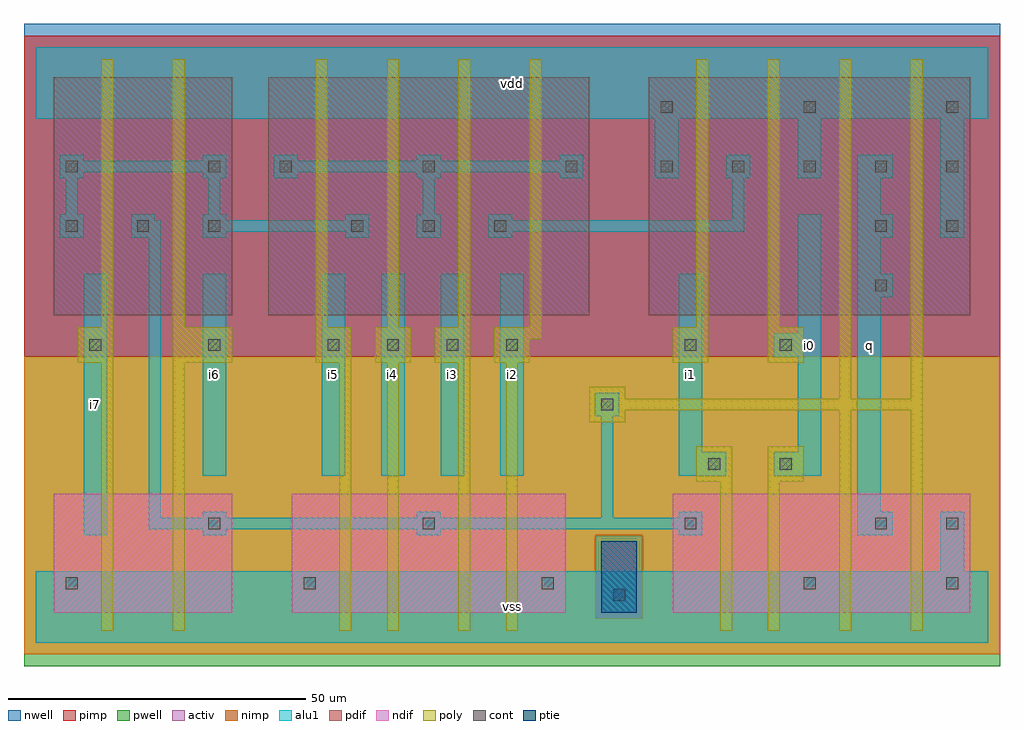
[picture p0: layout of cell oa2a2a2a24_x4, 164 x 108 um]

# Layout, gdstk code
import gdstk
lib = gdstk.Library(unit=1e-6, precision=1e-09)
def R(c, l, rs):  # rectangles x0, y0, x1, y1
    for r in rs: c.add(gdstk.rectangle(r[:2], r[2:], *l))
def A(c, l, x, y, w, h, nx, ny, dx, dy):  # array of equal rectangles
    R(c, l, [(x+i*dx, y+j*dy, x+i*dx+w, y+j*dy+h) for i in range(nx) for j in range(ny)])
ndif = (3, 0)
pdif = (4, 0)
ptie = (6, 0)
cont = (25, 0)
pwell = (41, 0)
nwell = (42, 0)
activ = (43, 0)
pimp = (44, 0)
nimp = (45, 0)
poly = (46, 0)
alu1 = (49, 0)

oa2a2a2a24_x4 = lib.new_cell('oa2a2a2a24_x4')
R(oa2a2a2a24_x4, ndif, [(3,5,33,25), (43,5,89,25), (107,5,157,25)])
R(oa2a2a2a24_x4, pdif, [(3,55,33,95), (39,55,93,95), (103,55,157,95)])
R(oa2a2a2a24_x4, ptie, [(95,5,101,17)])
A(oa2a2a2a24_x4, cont, 5, 9, 2, 2, 3, 1, 40, 0)
A(oa2a2a2a24_x4, cont, 9, 49, 2, 2, 3, 1, 20, 0)
A(oa2a2a2a24_x4, cont, 59, 49, 2, 2, 3, 1, 10, 0)
A(oa2a2a2a24_x4, cont, 5, 69, 2, 2, 3, 1, 12, 0)
A(oa2a2a2a24_x4, cont, 53, 69, 2, 2, 3, 1, 12, 0)
A(oa2a2a2a24_x4, cont, 41, 79, 2, 2, 3, 1, 24, 0)
A(oa2a2a2a24_x4, cont, 105, 79, 2, 2, 5, 1, 12, 0)
A(oa2a2a2a24_x4, cont, 105, 89, 2, 2, 3, 1, 24, 0)
R(oa2a2a2a24_x4, cont, [(97,7,99,9), (129,9,131,11), (153,9,155,11), (29,19,31,21), (65,19,67,21), (109,19,111,21), (141,19,143,21), (153,19,155,21), (113,29,115,31), (125,29,127,31), (95,39,97,41), (109,49,111,51), (125,49,127,51), (141,59,143,61), (141,69,143,71), (153,69,155,71), (5,79,7,81), (29,79,31,81)])
R(oa2a2a2a24_x4, pwell, [(-2,-4,162,48)])
R(oa2a2a2a24_x4, nwell, [(-2,48,162,104)])
R(oa2a2a2a24_x4, activ, [(3,5,33,25), (43,5,89,25), (95,5,101,17), (107,5,157,25), (3,55,33,95), (39,55,93,95), (103,55,157,95)])
R(oa2a2a2a24_x4, pimp, [(94,4,102,18), (-2,48,162,102)])
R(oa2a2a2a24_x4, nimp, [(-2,-2,162,4), (-2,4,94,18), (102,4,162,18), (-2,18,162,48)])
A(oa2a2a2a24_x4, poly, 47, 47, 6, 6, 3, 1, 10, 0)
A(oa2a2a2a24_x4, poly, 47, 53, 2, 45, 4, 1, 12, 0)
R(oa2a2a2a24_x4, poly, [(11,2,13,47), (23,2,25,47), (51,2,53,47), (59,2,61,47), (71,2,73,47), (79,2,81,47), (115,2,117,27), (123,2,125,27), (135,2,137,39), (147,2,149,39), (111,27,117,33), (123,27,129,33), (93,37,99,39), (93,39,149,41), (93,41,99,43), (135,41,137,98), (147,41,149,98), (7,47,13,53), (23,47,33,53), (77,47,83,51), (107,47,113,53), (123,47,129,53), (77,51,85,53), (11,53,13,98), (23,53,25,98), (111,53,113,98), (123,53,125,98)])
A(oa2a2a2a24_x4, alu1, 48, 28, 4, 34, 4, 1, 10, 0)
A(oa2a2a2a24_x4, alu1, 138, 58, 6, 4, 1, 3, 0, 10)
A(oa2a2a2a24_x4, alu1, 28, 68, 4, 1, 3, 2, 24, 3)
A(oa2a2a2a24_x4, alu1, 40, 78, 4, 1, 3, 2, 24, 3)
R(oa2a2a2a24_x4, alu1, [(0,0,160,12), (152,12,156,22), (8,18,12,62), (28,18,32,19), (64,18,68,19), (108,18,112,19), (138,18,144,22), (19,19,112,21), (19,21,21,68), (28,21,32,22), (64,21,68,22), (95,21,97,38), (108,21,112,22), (138,22,142,58), (28,28,32,62), (108,28,116,32), (124,28,132,32), (108,32,112,62), (128,32,132,48), (94,38,98,42), (124,48,132,52), (128,52,132,72), (138,62,142,68), (4,68,8,72), (16,68,21,71), (64,68,68,72), (152,68,156,88), (28,69,56,71), (76,69,119,71), (16,71,20,72), (117,71,119,78), (5,72,7,78), (29,72,31,78), (65,72,67,78), (138,72,142,78), (4,78,8,79), (28,78,32,79), (104,78,108,88), (116,78,120,82), (128,78,132,88), (4,79,32,81), (40,79,92,81), (4,81,8,82), (28,81,32,82), (0,88,160,100)])
oa2a2a2a24_x4.add(gdstk.Label('i7', (10,40), layer=49, texttype=0))
oa2a2a2a24_x4.add(gdstk.Label('i5', (50,45), layer=49, texttype=0))
oa2a2a2a24_x4.add(gdstk.Label('i6', (30,45), layer=49, texttype=0))
oa2a2a2a24_x4.add(gdstk.Label('vss', (80,6), layer=49, texttype=0))
oa2a2a2a24_x4.add(gdstk.Label('i2', (80,45), layer=49, texttype=0))
oa2a2a2a24_x4.add(gdstk.Label('i3', (70,45), layer=49, texttype=0))
oa2a2a2a24_x4.add(gdstk.Label('i4', (60,45), layer=49, texttype=0))
oa2a2a2a24_x4.add(gdstk.Label('vdd', (80,94), layer=49, texttype=0))
oa2a2a2a24_x4.add(gdstk.Label('i1', (110,45), layer=49, texttype=0))
oa2a2a2a24_x4.add(gdstk.Label('i0', (130,50), layer=49, texttype=0))
oa2a2a2a24_x4.add(gdstk.Label('q', (140,50), layer=49, texttype=0))

lib.write_gds('oa2a2a2a24_x4.gds')
